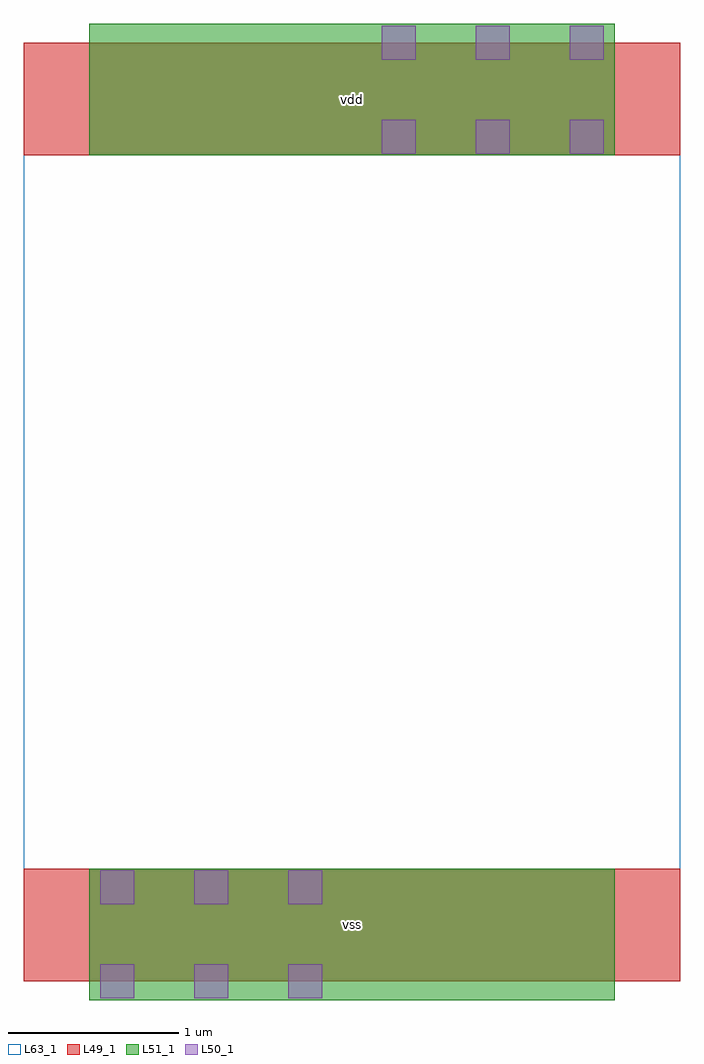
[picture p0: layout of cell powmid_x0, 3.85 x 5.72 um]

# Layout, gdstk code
import gdstk
lib = gdstk.Library(unit=1e-6, precision=1e-09)
def R(c, l, rs):  # rectangles x0, y0, x1, y1
    for r in rs: c.add(gdstk.rectangle(r[:2], r[2:], *l))
def A(c, l, x, y, w, h, nx, ny, dx, dy):  # array of equal rectangles
    R(c, l, [(x+i*dx, y+j*dy, x+i*dx+w, y+j*dy+h) for i in range(nx) for j in range(ny)])
L49_1 = (49, 1)
L50_1 = (50, 1)
L51_1 = (51, 1)
L63_1 = (63, 1)

powmid_x0 = lib.new_cell('powmid_x0')
R(powmid_x0, L49_1, [(0,0,3.85,0.66), (0,4.84,3.85,5.5)])
A(powmid_x0, L50_1, 0.45, -0.1, 0.2, 0.2, 3, 2, 0.55, 0.55)
A(powmid_x0, L50_1, 2.1, 4.85, 0.2, 0.2, 3, 2, 0.55, 0.55)
R(powmid_x0, L51_1, [(0.385,-0.11,3.465,0.66), (0.385,4.84,3.465,5.61)])
R(powmid_x0, L63_1, [(0,0,3.85,5.5)])
powmid_x0.add(gdstk.Label('vss', (1.925,0.33), layer=49, texttype=1))
powmid_x0.add(gdstk.Label('vss', (1.925,0.33), layer=49, texttype=1))
powmid_x0.add(gdstk.Label('vdd', (1.925,5.17), layer=49, texttype=1))
powmid_x0.add(gdstk.Label('vdd', (1.925,5.17), layer=49, texttype=1))
powmid_x0.add(gdstk.Label('vss', (1.925,0.33), layer=51, texttype=1))
powmid_x0.add(gdstk.Label('vdd', (1.925,5.17), layer=51, texttype=1))

lib.write_gds('powmid_x0.gds')
